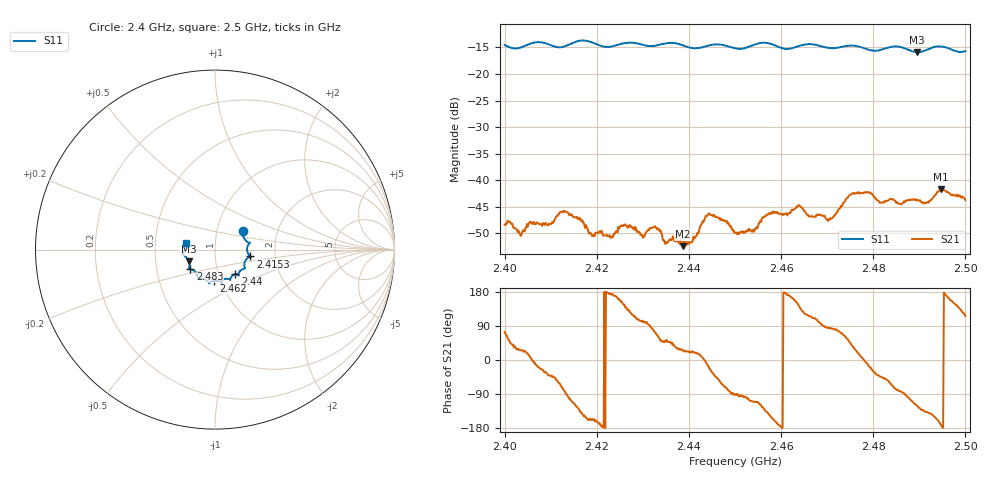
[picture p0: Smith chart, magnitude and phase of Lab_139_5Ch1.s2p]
# Hz S RI R 50
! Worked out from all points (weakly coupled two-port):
!   601 points, 2.4 GHz to 2.5 GHz, reference 50 ohm
!   highest |S21| = -41.66 dB at 2.4947 GHz (marker M1); lowest = -52.4 dB at 2.4387 GHz (marker M2)
!   lowest |S11| = -15.9 dB at 2.4895 GHz (marker M3), VSWR 1.38, Z = 36.9 - j4.99 ohm
!   |S11| at or under -10 dB: start of sweep to end of sweep
!   S12 and S22 are empty: the file has one direction only
!   S11 on the Smith chart (normalised r, x): 2.4 GHz: 1.33, +0.29; 2.4153 GHz: 1.48, -0.12; 2.44 GHz: 1.20, -0.34; 2.462 GHz: 0.93, -0.33; 2.483 GHz: 0.74, -0.17; 2.5 GHz: 0.72, +0.06
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2.4e9  0.1546 0.1059  0.00102 0.00369  0 0  0 0
2.403333e9  0.1677 0.0548  0.00284 0.00134  0 0  0 0
2.4125e9  0.1792 -0.00745  0.00152 -0.00479  0 0  0 0
2.415333e9  0.1967 -0.0384  -0.00212 -0.00393  0 0  0 0
2.416667e9  0.2022 -0.0422  -0.00313 -0.0027  0 0  0 0
2.419e9  0.1936 -0.0419  -0.00275 -0.00118  0 0  0 0
2.433333e9  0.1311 -0.1341  0.00165 0.00312  0 0  0 0
2.434833e9  0.1306 -0.1429  0.00169 0.00187  0 0  0 0
2.438667e9  0.1246 -0.1382  0.00215 0.00108  0 0  0 0
2.44e9  0.1136 -0.1368  0.00236 0.0009  0 0  0 0
2.444167e9  0.0853 -0.1643  0.00459 -0.00134  0 0  0 0
2.45e9  0.0643 -0.1624  -3.44e-05 -0.00321  0 0  0 0
2.462e9  -0.0052 -0.1732  -0.0048 0.00108  0 0  0 0
2.464e9  -0.0268 -0.1823  -0.00447 0.00366  0 0  0 0
2.466667e9  -0.0339 -0.1876  -0.00177 0.00426  0 0  0 0
2.470667e9  -0.0547 -0.1664  0.00046 0.00438  0 0  0 0
2.476e9  -0.0944 -0.1582  0.00665 0.0036  0 0  0 0
2.483e9  -0.1377 -0.1096  0.00388 -0.00508  0 0  0 0
2.483333e9  -0.1402 -0.1093  0.00368 -0.00535  0 0  0 0
2.4895e9  -0.1464 -0.0658  -0.00328 -0.00556  0 0  0 0
2.494667e9  -0.1803 -0.0208  -0.00815 -0.00136  0 0  0 0
2.5e9  -0.1597 0.0393  -0.00291 0.00583  0 0  0 0
